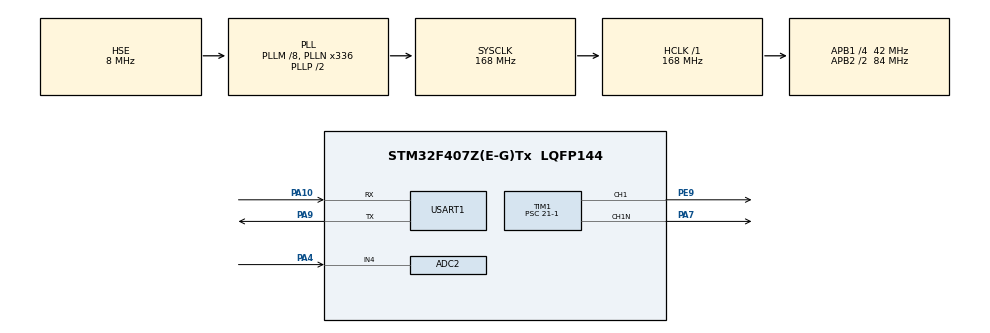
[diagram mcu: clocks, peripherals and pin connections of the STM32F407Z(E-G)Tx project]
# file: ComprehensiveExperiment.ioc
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ADC2.Channel-2\#ChannelRegularConversion=ADC_CHANNEL_4
ADC2.ContinuousConvMode=ENABLE
ADC2.DMAContinuousRequests=ENABLE
ADC2.NbrOfConversionFlag=1
ADC2.Rank-2\#ChannelRegularConversion=1
ADC2.SamplingTime-2\#ChannelRegularConversion=ADC_SAMPLETIME_84CYCLES
Dma.ADC2.0.Direction=DMA_PERIPH_TO_MEMORY
Dma.ADC2.0.FIFOMode=DMA_FIFOMODE_DISABLE
Dma.ADC2.0.Instance=DMA2_Stream2
Dma.ADC2.0.MemDataAlignment=DMA_MDATAALIGN_WORD
Dma.ADC2.0.MemInc=DMA_MINC_ENABLE
Dma.ADC2.0.Mode=DMA_CIRCULAR
Dma.ADC2.0.PeriphDataAlignment=DMA_PDATAALIGN_WORD
Dma.ADC2.0.PeriphInc=DMA_PINC_DISABLE
Dma.ADC2.0.Priority=DMA_PRIORITY_LOW
Dma.Request0=ADC2
Mcu.Family=STM32F4
Mcu.Name=STM32F407Z(E-G)Tx
Mcu.Package=LQFP144
NVIC.DMA2_Stream2_IRQn=true\:0\:0\:false\:false\:true\:false\:true
NVIC.PriorityGroup=NVIC_PRIORITYGROUP_2
NVIC.TIM6_DAC_IRQn=true\:2\:3\:true\:false\:true\:true\:true
NVIC.USART1_IRQn=true\:2\:2\:true\:false\:true\:true\:true
PA10.Mode=Asynchronous
PA10.Signal=USART1_RX
PA13.Mode=Serial_Wire
PA13.Signal=SYS_JTMS-SWDIO
PA14.Mode=Serial_Wire
PA14.Signal=SYS_JTCK-SWCLK
PA4.Signal=ADCx_IN4
PA7.Mode=PWM Generation1 CH1 CH1N
PA7.Signal=TIM1_CH1N
PA9.Mode=Asynchronous
PA9.Signal=USART1_TX
PE9.Signal=S_TIM1_CH1
PH0-OSC_IN.Mode=HSE-External-Oscillator
PH0-OSC_IN.Signal=RCC_OSC_IN
PH1-OSC_OUT.Mode=HSE-External-Oscillator
PH1-OSC_OUT.Signal=RCC_OSC_OUT
ProjectManager.HeapSize=0x200
ProjectManager.StackSize=0x400
ProjectManager.TargetToolchain=MDK-ARM V5.32
RCC.48MHZClocksFreq_Value=84000000
RCC.AHBFreq_Value=168000000
RCC.APB1CLKDivider=RCC_HCLK_DIV4
RCC.APB1Freq_Value=42000000
RCC.APB1TimFreq_Value=84000000
RCC.APB2CLKDivider=RCC_HCLK_DIV2
RCC.APB2Freq_Value=84000000
RCC.APB2TimFreq_Value=168000000
RCC.CortexFreq_Value=168000000
RCC.HCLKFreq_Value=168000000
RCC.HSE_VALUE=8000000
RCC.HSI_VALUE=16000000
RCC.LSE_VALUE=32768
RCC.PLLM=8
RCC.PLLN=336
RCC.PLLSourceVirtual=RCC_PLLSOURCE_HSE
RCC.SYSCLKFreq_VALUE=168000000
RCC.SYSCLKSource=RCC_SYSCLKSOURCE_PLLCLK
RCC.VCOOutputFreq_Value=336000000
SH.ADCx_IN4.0=ADC2_IN4,IN4
SH.S_TIM1_CH1.0=TIM1_CH1,PWM Generation1 CH1 CH1N
TIM1.AutoReloadPreload=TIM_AUTORELOAD_PRELOAD_ENABLE
TIM1.AutomaticOutput=TIM_AUTOMATICOUTPUT_ENABLE
TIM1.BreakState=TIM_BREAK_ENABLE
TIM1.Channel-PWM\ Generation1\ CH1\ CH1N=TIM_CHANNEL_1
TIM1.DeadTime=148
TIM1.OffStateIDLEMode=TIM_OSSI_ENABLE
TIM1.OffStateRunMode=TIM_OSSR_ENABLE
TIM1.Period=800-1
TIM1.Prescaler=21-1
TIM1.Pulse-PWM\ Generation1\ CH1\ CH1N=400
TIM6.AutoReloadPreload=TIM_AUTORELOAD_PRELOAD_ENABLE
TIM6.Period=10000
TIM6.Prescaler=84-1
USART1.VirtualMode=VM_ASYNC
VP_TIM1_VS_ClockSourceINT.Mode=Internal
VP_TIM6_VS_ClockSourceINT.Mode=Enable_Timer
board=custom

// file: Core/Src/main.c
/* USER CODE BEGIN Header */
/**
 ******************************************************************************
 * @file           : main.c
 * @brief          : Main program body
 ******************************************************************************
 * @attention
 *
 * <h2><center>&copy; Copyright (c) 2022 STMicroelectronics.
 * All rights reserved.</center></h2>
 *
 * This software component is licensed by ST under BSD 3-Clause license,
 * the "License"; You may not use this file except in compliance with the
 * License. You may obtain a copy of the License at:
 *                        opensource.org/licenses/BSD-3-Clause
 *
 ******************************************************************************
 */
/* USER CODE END Header */
#include "main.h"
#include "adc.h"
#include "dma.h"
#include "tim.h"
#include "usart.h"
#include "gpio.h"

void SystemClock_Config(void);
/* USER CODE BEGIN PFP */
void test_task(void);
/* USER CODE END PFP */

/* USER CODE BEGIN 0 */
uint32_t adc_volte[50];
uint32_t adc_average;
PID pid;
uart_o_ctrl_t uart1;
/* USER CODE END 0 */

int main(void)
{

	/* MCU Configuration--------------------------------------------------------*/

	/* Reset of all peripherals, Initializes the Flash interface and the Systick. */
	HAL_Init();

	/* Configure the system clock */
	SystemClock_Config();

	/* Initialize all configured peripherals */
	MX_GPIO_Init();
	MX_TIM1_Init();
	MX_TIM6_Init();
	MX_USART1_UART_Init();
	MX_DMA_Init();
	MX_ADC2_Init();
	/* USER CODE BEGIN 2 */
	// PID_Init(&pid, 0.56, 0.33, 0.01, 1000, 799, 10, 3.3);
	PID_Init(&pid, 0.58, 0.24, 0.01, 1000, 799, 10, 3.3);
	Enable_Uart_O_Control(&huart1, &uart1);
	/* USER CODE END 2 */

	/* Infinite loop */
	/* USER CODE BEGIN WHILE */
	HAL_ADC_Start_DMA(&hadc2, adc_volte, 50);
	TIM6_START_IT();
	pwm_start();
	uint8_t i = 0;
	while (1)
	{
		for(i=0;i<50;i++)
		{
			adc_average += adc_volte[i];
		}
		adc_average /= 50;
		HAL_Delay(5);
		/* USER CODE END WHILE */

	}
}

void SystemClock_Config(void)
{
	RCC_OscInitTypeDef RCC_OscInitStruct = {0};
	RCC_ClkInitTypeDef RCC_ClkInitStruct = {0};

	/** Configure the main internal regulator output voltage
	 */
	__HAL_RCC_PWR_CLK_ENABLE();
	__HAL_PWR_VOLTAGESCALING_CONFIG(PWR_REGULATOR_VOLTAGE_SCALE1);
	/** Initializes the RCC Oscillators according to the specified parameters
	 * in the RCC_OscInitTypeDef structure.
	 */
	RCC_OscInitStruct.OscillatorType = RCC_OSCILLATORTYPE_HSE;
	RCC_OscInitStruct.HSEState = RCC_HSE_ON;
	RCC_OscInitStruct.PLL.PLLState = RCC_PLL_ON;
	RCC_OscInitStruct.PLL.PLLSource = RCC_PLLSOURCE_HSE;
	RCC_OscInitStruct.PLL.PLLM = 8;
	RCC_OscInitStruct.PLL.PLLN = 336;
	RCC_OscInitStruct.PLL.PLLP = RCC_PLLP_DIV2;
	RCC_OscInitStruct.PLL.PLLQ = 4;
	if (HAL_RCC_OscConfig(&RCC_OscInitStruct) != HAL_OK)
	{
		Error_Handler();
	}
	/** Initializes the CPU, AHB and APB buses clocks
	 */
	RCC_ClkInitStruct.ClockType = RCC_CLOCKTYPE_HCLK | RCC_CLOCKTYPE_SYSCLK | RCC_CLOCKTYPE_PCLK1 | RCC_CLOCKTYPE_PCLK2;
	RCC_ClkInitStruct.SYSCLKSource = RCC_SYSCLKSOURCE_PLLCLK;
	RCC_ClkInitStruct.AHBCLKDivider = RCC_SYSCLK_DIV1;
	RCC_ClkInitStruct.APB1CLKDivider = RCC_HCLK_DIV4;
	RCC_ClkInitStruct.APB2CLKDivider = RCC_HCLK_DIV2;

	if (HAL_RCC_ClockConfig(&RCC_ClkInitStruct, FLASH_LATENCY_5) != HAL_OK)
	{
		Error_Handler();
	}
}

/* USER CODE BEGIN 4 */
void test_task(void)
{
	static uint8_t init;
	if (init == 0)
	{
		init++;
		// pwm_start();
		// HAL_ADC_Start_DMA(&hadc2, (uint32_t *)adc_volte, 10);
	}
}
/* USER CODE END 4 */

void Error_Handler(void)
{
	__disable_irq();
	while (1)
	{
	}
}

/************************ (C) COPYRIGHT STMicroelectronics *****END OF FILE****/
